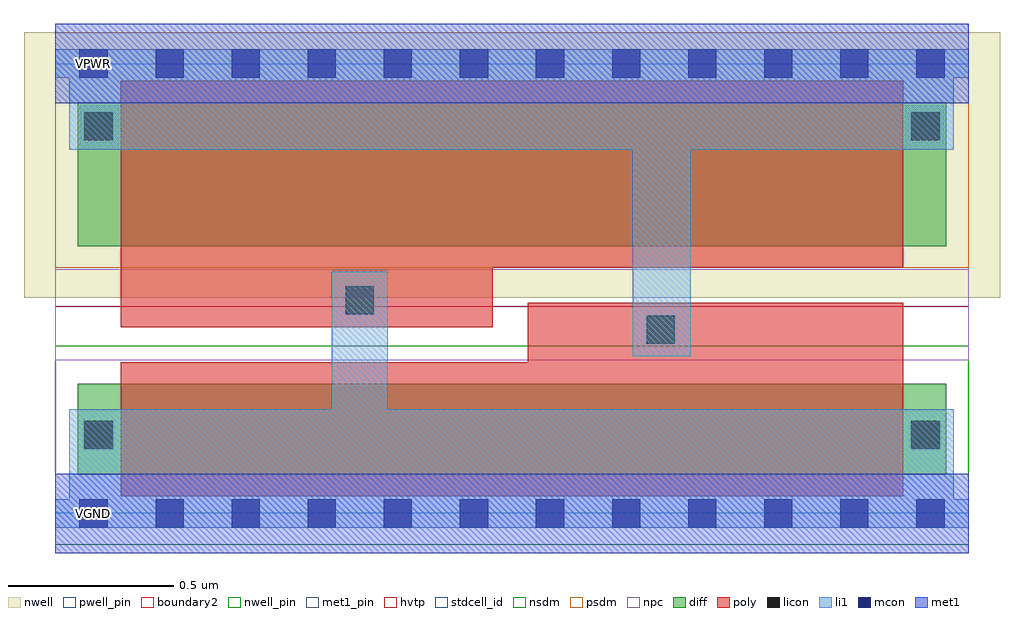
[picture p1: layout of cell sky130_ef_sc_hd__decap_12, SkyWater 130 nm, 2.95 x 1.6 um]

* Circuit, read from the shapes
.subckt sky130_ef_sc_hd__decap_12 VGND VNB VPB VPWR
XM1 VGND VPWR VGND VNB sky130_fd_pr__nfet_01v8 w=0.275 l=2.365
XM2 VPWR VGND VPWR VPB sky130_fd_pr__pfet_01v8_hvt w=0.435 l=2.365
.ends

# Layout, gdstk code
import gdstk
lib = gdstk.Library(unit=1e-6, precision=5e-10)
def R(c, l, rs):  # rectangles x0, y0, x1, y1
    for r in rs: c.add(gdstk.rectangle(r[:2], r[2:], *l))
def A(c, l, x, y, w, h, nx, ny, dx, dy):  # array of equal rectangles
    R(c, l, [(x+i*dx, y+j*dy, x+i*dx+w, y+j*dy+h) for i in range(nx) for j in range(ny)])
def P(c, l, *ps):  # polygons
    for p in ps: c.add(gdstk.Polygon(p, *l))
nwell_pin = (64, 16)
nwell = (64, 20)
diff = (65, 20)
poly = (66, 20)
licon = (66, 44)
li1 = (67, 20)
mcon = (67, 44)
met1_pin = (68, 16)
met1 = (68, 20)
hvtp = (78, 44)
stdcell_id = (81, 4)
nsdm = (93, 44)
psdm = (94, 20)
npc = (95, 20)
pwell_pin = (122, 16)
boundary2 = (236, 0)

sky130_ef_sc_hd__decap_1 = lib.new_cell('sky130_ef_sc_hd__decap_12')
R(sky130_ef_sc_hd__decap_1, nwell_pin, [(0.0725,1.3175,0.1575,1.4025)])
R(sky130_ef_sc_hd__decap_1, nwell, [(-0.095,0.6525,2.855,1.455)])
R(sky130_ef_sc_hd__decap_1, diff, [(0.0675,0.1175,2.6925,0.3925), (0.0675,0.8075,2.6925,1.2425)])
P(sky130_ef_sc_hd__decap_1, poly, [(0.1975,0.5625),(0.1975,1.3075),(2.5625,1.3075),(2.5625,0.7425),(1.3225,0.7425),(1.3225,0.5625)],
  [(0.1975,0.0525),(0.1975,0.4575),(1.4275,0.4575),(1.4275,0.6375),(2.5625,0.6375),(2.5625,0.0525)])
R(sky130_ef_sc_hd__decap_1, licon, [(0.0875,0.195,0.1725,0.28), (2.5875,0.195,2.6725,0.28), (1.7875,0.5125,1.8725,0.5975), (0.8775,0.6025,0.9625,0.6875), (0.0875,1.1275,0.1725,1.2125), (2.5875,1.1275,2.6725,1.2125)])
R(sky130_ef_sc_hd__decap_1, li1, [(0,-0.0425,2.76,0.0425), (0.0425,0.0425,2.715,0.315), (0.835,0.315,1.005,0.73), (1.745,0.475,1.92,1.1), (0.0425,1.1,2.715,1.3175), (0,1.3175,2.76,1.4025)])
A(sky130_ef_sc_hd__decap_1, mcon, 0.0725, -0.0425, 0.085, 0.085, 12, 2, 0.23, 1.36)
R(sky130_ef_sc_hd__decap_1, met1_pin, [(0.0725,-0.0425,0.1575,0.0425), (0.0725,1.3175,0.1575,1.4025)])
R(sky130_ef_sc_hd__decap_1, hvtp, [(0,0.625,2.76,1.36)])
R(sky130_ef_sc_hd__decap_1, stdcell_id, [(0,0,2.76,1.36)])
R(sky130_ef_sc_hd__decap_1, nsdm, [(0,-0.095,2.76,0.5075)])
R(sky130_ef_sc_hd__decap_1, psdm, [(0,0.7425,2.76,1.455)])
R(sky130_ef_sc_hd__decap_1, npc, [(0,0.4625,2.76,0.7375)])
R(sky130_ef_sc_hd__decap_1, pwell_pin, [(0.0725,-0.0425,0.1575,0.0425)])
R(sky130_ef_sc_hd__decap_1, boundary2, [(0,0,2.76,1.36)])
sky130_ef_sc_hd__decap_1.add(gdstk.FlexPath([(0,1.36),(2.76,1.36)], 0.24, ends="flush", simple_path=True, layer=68, datatype=20))  # met1
sky130_ef_sc_hd__decap_1.add(gdstk.FlexPath([(0,0),(2.76,0)], 0.24, ends="flush", simple_path=True, layer=68, datatype=20))  # met1
sky130_ef_sc_hd__decap_1.add(gdstk.Label('VGND', (0.115,0), layer=68, texttype=5))
sky130_ef_sc_hd__decap_1.add(gdstk.Label('VPWR', (0.115,1.36), layer=68, texttype=5))
sky130_ef_sc_hd__decap_1.add(gdstk.Label('VPB', (0.115,1.36), layer=64, texttype=5))
sky130_ef_sc_hd__decap_1.add(gdstk.Label('VNB', (0.115,0), layer=64, texttype=59))
sky130_ef_sc_hd__decap_1.add(gdstk.Label('decap_12', (0,0), layer=83, texttype=44))

lib.write_gds('sky130_ef_sc_hd__decap_12.gds')
